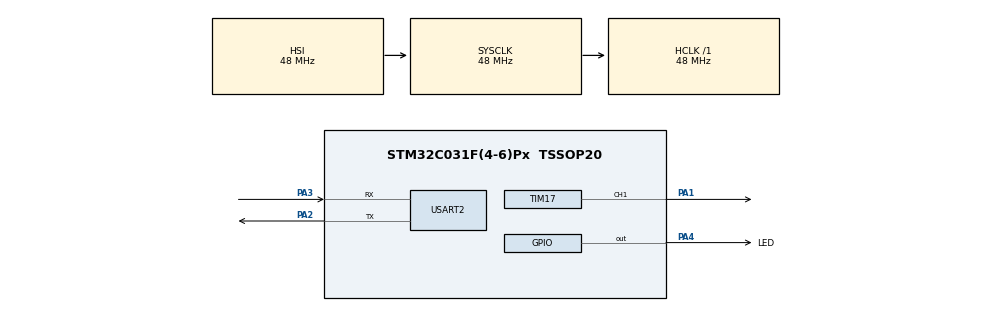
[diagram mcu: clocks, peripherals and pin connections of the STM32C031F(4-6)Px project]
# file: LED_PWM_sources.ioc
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Dma.Request0=USART2_RX
Dma.Request1=USART2_TX
Dma.USART2_RX.0.Direction=DMA_PERIPH_TO_MEMORY
Dma.USART2_RX.0.EventEnable=DISABLE
Dma.USART2_RX.0.Instance=DMA1_Channel1
Dma.USART2_RX.0.MemDataAlignment=DMA_MDATAALIGN_BYTE
Dma.USART2_RX.0.MemInc=DMA_MINC_ENABLE
Dma.USART2_RX.0.Mode=DMA_NORMAL
Dma.USART2_RX.0.PeriphDataAlignment=DMA_PDATAALIGN_BYTE
Dma.USART2_RX.0.PeriphInc=DMA_PINC_DISABLE
Dma.USART2_RX.0.Polarity=HAL_DMAMUX_REQ_GEN_RISING
Dma.USART2_RX.0.Priority=DMA_PRIORITY_LOW
Dma.USART2_RX.0.RequestNumber=1
Dma.USART2_RX.0.SignalID=NONE
Dma.USART2_RX.0.SyncEnable=DISABLE
Dma.USART2_RX.0.SyncPolarity=HAL_DMAMUX_SYNC_NO_EVENT
Dma.USART2_RX.0.SyncRequestNumber=1
Dma.USART2_RX.0.SyncSignalID=NONE
Dma.USART2_TX.1.Direction=DMA_MEMORY_TO_PERIPH
Dma.USART2_TX.1.EventEnable=DISABLE
Dma.USART2_TX.1.Instance=DMA1_Channel2
Dma.USART2_TX.1.MemDataAlignment=DMA_MDATAALIGN_BYTE
Dma.USART2_TX.1.MemInc=DMA_MINC_ENABLE
Dma.USART2_TX.1.Mode=DMA_NORMAL
Dma.USART2_TX.1.PeriphDataAlignment=DMA_PDATAALIGN_BYTE
Dma.USART2_TX.1.PeriphInc=DMA_PINC_DISABLE
Dma.USART2_TX.1.Polarity=HAL_DMAMUX_REQ_GEN_RISING
Dma.USART2_TX.1.Priority=DMA_PRIORITY_LOW
Dma.USART2_TX.1.RequestNumber=1
Dma.USART2_TX.1.SignalID=NONE
Dma.USART2_TX.1.SyncEnable=DISABLE
Dma.USART2_TX.1.SyncPolarity=HAL_DMAMUX_SYNC_NO_EVENT
Dma.USART2_TX.1.SyncRequestNumber=1
Dma.USART2_TX.1.SyncSignalID=NONE
Mcu.Family=STM32C0
Mcu.Name=STM32C031F(4-6)Px
Mcu.Package=TSSOP20
NVIC.DMA1_Channel1_IRQn=true\:0\:0\:false\:false\:true\:false\:true\:true
NVIC.DMA1_Channel2_3_IRQn=true\:0\:0\:false\:false\:true\:false\:true\:true
NVIC.USART2_IRQn=true\:0\:0\:false\:false\:true\:false\:true\:true
PA1.Signal=S_TIM17_CH1
PA13.Mode=Serial_Wire
PA13.Signal=DEBUG_SWDIO
PA14-BOOT0.Mode=Serial_Wire
PA14-BOOT0.Signal=DEBUG_SWCLK
PA2.Mode=Asynchronous
PA2.Signal=USART2_TX
PA3.Mode=Asynchronous
PA3.Signal=USART2_RX
PA4.GPIO_Label=LED
PA4.Signal=GPIO_Output
ProjectManager.HeapSize=0x200
ProjectManager.StackSize=0x400
ProjectManager.TargetToolchain=Makefile
RCC.ADCFreq_Value=48000000
RCC.AHBFreq_Value=48000000
RCC.CortexFreq_Value=48000000
RCC.EXTERNAL_CLOCK_VALUE=12288000
RCC.HCLKFreq_Value=48000000
RCC.HSE_VALUE=8000000
RCC.HSISYSCLKDivider=RCC_HSI_DIV1
RCC.HSI_VALUE=48000000
RCC.LSE_VALUE=32768
RCC.SYSCLKFreq_VALUE=48000000
SH.S_TIM17_CH1.0=TIM17_CH1,PWM Generation1 CH1
TIM17.Channel=TIM_CHANNEL_1
TIM17.OCPolarity_1=TIM_OCPOLARITY_LOW
TIM17.Period=254
TIM17.Prescaler=95
USART2.VirtualMode-Asynchronous=VM_ASYNC
VP_TIM17_VS_ClockSourceINT.Mode=Enable_Timer
board=custom

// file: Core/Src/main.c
/* USER CODE BEGIN Header */
/**
  ******************************************************************************
  * @file           : main.c
  * @brief          : Main program body
  ******************************************************************************
  * @attention
  *
  * Copyright (c) 2024 STMicroelectronics.
  * All rights reserved.
  *
  * This software is licensed under terms that can be found in the LICENSE file
  * in the root directory of this software component.
  * If no LICENSE file comes with this software, it is provided AS-IS.
  *
  ******************************************************************************
  */
/* USER CODE END Header */
#include "main.h"

TIM_HandleTypeDef htim17;

UART_HandleTypeDef huart2;
DMA_HandleTypeDef hdma_usart2_rx;
DMA_HandleTypeDef hdma_usart2_tx;

void SystemClock_Config(void);
static void MX_GPIO_Init(void);
static void MX_DMA_Init(void);
static void MX_USART2_UART_Init(void);
static void MX_TIM17_Init(void);

/* USER CODE BEGIN 0 */
uint8_t rx_buff[10];
/* USER CODE END 0 */

int main(void)
{

  /* MCU Configuration--------------------------------------------------------*/

  /* Reset of all peripherals, Initializes the Flash interface and the Systick. */
  HAL_Init();

  /* Configure the system clock */
  SystemClock_Config();

  /* Initialize all configured peripherals */
  MX_GPIO_Init();
  MX_DMA_Init();
  MX_USART2_UART_Init();
  MX_TIM17_Init();
  /* USER CODE BEGIN 2 */
  HAL_UART_Receive_DMA(&huart2, rx_buff, 10);
  HAL_GPIO_WritePin(LED_GPIO_Port, LED_Pin, GPIO_PIN_SET);
  TIM17->CCR1 = 128;
  HAL_TIM_PWM_Start(&htim17, TIM_CHANNEL_1);
  /* USER CODE END 2 */

  /* Infinite loop */
  while (1)
  {

  }
}

void SystemClock_Config(void)
{
  RCC_OscInitTypeDef RCC_OscInitStruct = {0};
  RCC_ClkInitTypeDef RCC_ClkInitStruct = {0};

  /** Initializes the RCC Oscillators according to the specified parameters
  * in the RCC_OscInitTypeDef structure.
  */
  RCC_OscInitStruct.OscillatorType = RCC_OSCILLATORTYPE_HSI;
  RCC_OscInitStruct.HSIState = RCC_HSI_ON;
  RCC_OscInitStruct.HSIDiv = RCC_HSI_DIV1;
  RCC_OscInitStruct.HSICalibrationValue = RCC_HSICALIBRATION_DEFAULT;
  if (HAL_RCC_OscConfig(&RCC_OscInitStruct) != HAL_OK)
  {
    Error_Handler();
  }

  /** Initializes the CPU, AHB and APB buses clocks
  */
  RCC_ClkInitStruct.ClockType = RCC_CLOCKTYPE_HCLK|RCC_CLOCKTYPE_SYSCLK
                              |RCC_CLOCKTYPE_PCLK1;
  RCC_ClkInitStruct.SYSCLKSource = RCC_SYSCLKSOURCE_HSI;
  RCC_ClkInitStruct.SYSCLKDivider = RCC_SYSCLK_DIV1;
  RCC_ClkInitStruct.AHBCLKDivider = RCC_HCLK_DIV1;
  RCC_ClkInitStruct.APB1CLKDivider = RCC_APB1_DIV1;

  if (HAL_RCC_ClockConfig(&RCC_ClkInitStruct, FLASH_LATENCY_1) != HAL_OK)
  {
    Error_Handler();
  }
}

static void MX_TIM17_Init(void)
{

  TIM_OC_InitTypeDef sConfigOC = {0};
  TIM_BreakDeadTimeConfigTypeDef sBreakDeadTimeConfig = {0};

  htim17.Instance = TIM17;
  htim17.Init.Prescaler = 95;
  htim17.Init.CounterMode = TIM_COUNTERMODE_UP;
  htim17.Init.Period = 254;
  htim17.Init.ClockDivision = TIM_CLOCKDIVISION_DIV1;
  htim17.Init.RepetitionCounter = 0;
  htim17.Init.AutoReloadPreload = TIM_AUTORELOAD_PRELOAD_DISABLE;
  if (HAL_TIM_Base_Init(&htim17) != HAL_OK)
  {
    Error_Handler();
  }
  if (HAL_TIM_PWM_Init(&htim17) != HAL_OK)
  {
    Error_Handler();
  }
  sConfigOC.OCMode = TIM_OCMODE_PWM1;
  sConfigOC.Pulse = 0;
  sConfigOC.OCPolarity = TIM_OCPOLARITY_LOW;
  sConfigOC.OCNPolarity = TIM_OCNPOLARITY_HIGH;
  sConfigOC.OCFastMode = TIM_OCFAST_DISABLE;
  sConfigOC.OCIdleState = TIM_OCIDLESTATE_RESET;
  sConfigOC.OCNIdleState = TIM_OCNIDLESTATE_RESET;
  if (HAL_TIM_PWM_ConfigChannel(&htim17, &sConfigOC, TIM_CHANNEL_1) != HAL_OK)
  {
    Error_Handler();
  }
  sBreakDeadTimeConfig.OffStateRunMode = TIM_OSSR_DISABLE;
  sBreakDeadTimeConfig.OffStateIDLEMode = TIM_OSSI_DISABLE;
  sBreakDeadTimeConfig.LockLevel = TIM_LOCKLEVEL_OFF;
  sBreakDeadTimeConfig.DeadTime = 0;
  sBreakDeadTimeConfig.BreakState = TIM_BREAK_DISABLE;
  sBreakDeadTimeConfig.BreakPolarity = TIM_BREAKPOLARITY_HIGH;
  sBreakDeadTimeConfig.BreakFilter = 0;
  sBreakDeadTimeConfig.AutomaticOutput = TIM_AUTOMATICOUTPUT_DISABLE;
  if (HAL_TIMEx_ConfigBreakDeadTime(&htim17, &sBreakDeadTimeConfig) != HAL_OK)
  {
    Error_Handler();
  }
  HAL_TIM_MspPostInit(&htim17);

}

static void MX_USART2_UART_Init(void)
{

  huart2.Instance = USART2;
  huart2.Init.BaudRate = 115200;
  huart2.Init.WordLength = UART_WORDLENGTH_8B;
  huart2.Init.StopBits = UART_STOPBITS_1;
  huart2.Init.Parity = UART_PARITY_NONE;
  huart2.Init.Mode = UART_MODE_TX_RX;
  huart2.Init.HwFlowCtl = UART_HWCONTROL_NONE;
  huart2.Init.OverSampling = UART_OVERSAMPLING_16;
  huart2.Init.OneBitSampling = UART_ONE_BIT_SAMPLE_DISABLE;
  huart2.Init.ClockPrescaler = UART_PRESCALER_DIV1;
  huart2.AdvancedInit.AdvFeatureInit = UART_ADVFEATURE_NO_INIT;
  if (HAL_UART_Init(&huart2) != HAL_OK)
  {
    Error_Handler();
  }

}

static void MX_DMA_Init(void)
{

  /* DMA controller clock enable */
  __HAL_RCC_DMA1_CLK_ENABLE();

  /* DMA interrupt init */
  /* DMA1_Channel1_IRQn interrupt configuration */
  HAL_NVIC_SetPriority(DMA1_Channel1_IRQn, 0, 0);
  HAL_NVIC_EnableIRQ(DMA1_Channel1_IRQn);
  /* DMA1_Channel2_3_IRQn interrupt configuration */
  HAL_NVIC_SetPriority(DMA1_Channel2_3_IRQn, 0, 0);
  HAL_NVIC_EnableIRQ(DMA1_Channel2_3_IRQn);

}

static void MX_GPIO_Init(void)
{
  GPIO_InitTypeDef GPIO_InitStruct = {0};

  /* GPIO Ports Clock Enable */
  __HAL_RCC_GPIOA_CLK_ENABLE();

  /*Configure GPIO pin Output Level */
  HAL_GPIO_WritePin(LED_GPIO_Port, LED_Pin, GPIO_PIN_RESET);

  /*Configure GPIO pin : LED_Pin */
  GPIO_InitStruct.Pin = LED_Pin;
  GPIO_InitStruct.Mode = GPIO_MODE_OUTPUT_PP;
  GPIO_InitStruct.Pull = GPIO_NOPULL;
  GPIO_InitStruct.Speed = GPIO_SPEED_FREQ_LOW;
  HAL_GPIO_Init(LED_GPIO_Port, &GPIO_InitStruct);

}

/* USER CODE BEGIN 4 */
void HAL_UART_RxCpltCallback(UART_HandleTypeDef *huart){
	HAL_GPIO_TogglePin(LED_GPIO_Port, LED_Pin);
  uint8_t rx_buff[10];
	HAL_UART_Receive_DMA(&huart2, rx_buff, 10);
	if (rx_buff[0] == 84){
    // LS0X100Y%
		uint8_t tx_buff[10] = {76, 83, 48, 88, 49, 48, 48, 89, 37, 0};
		HAL_UART_Transmit_DMA(&huart2, &tx_buff, 10);
	}else if (rx_buff[0] == 71){
	  char buf[10] = {35,35,35,35,35,35,35,35,35,35};
	  uint16_t proc_val = (int)((TIM17->CCR1 - 1000) * (100 - 0) / (2500 - 1000) + 0);
	  itoa(proc_val, buf, 10);
	  HAL_UART_Transmit_DMA(&huart2, buf, 10);
  }else{
    uint8_t pwm[3];
	  memcpy(pwm, rx_buff, 3);
	  uint16_t val = (atoi(pwm) - 0) * (255 - 0) / (100 - 0) + 0;

	  TIM17->CCR1 = val;
	  uint8_t buff[10] = {79, 75, 50, 48, 88, 52, 48, 48, 89, 37};
	  HAL_UART_Transmit_DMA(&huart2, &buff, 10);
	}
}
/* USER CODE END 4 */

void Error_Handler(void)
{
  __disable_irq();
  while (1)
  {
  }
}
